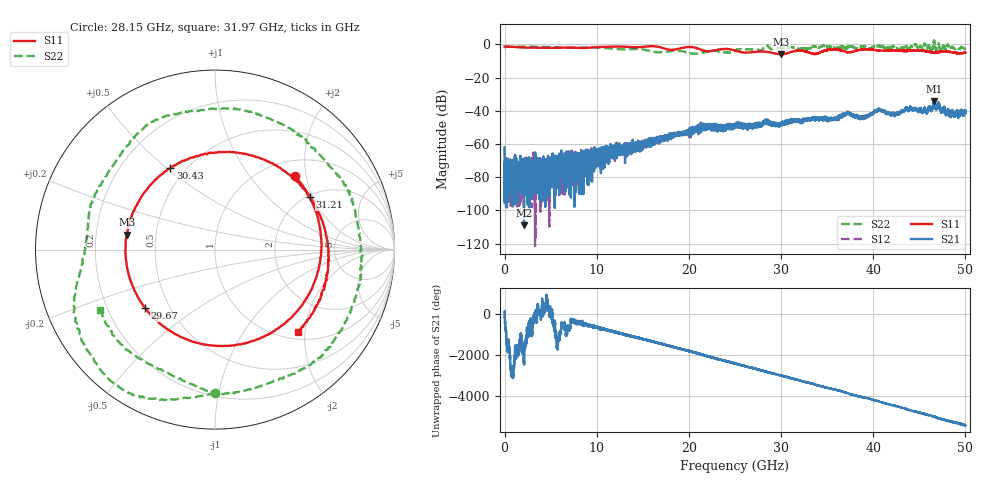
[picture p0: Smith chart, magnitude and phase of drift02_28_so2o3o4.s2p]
!Created with skrf (http://scikit-rf.org).
# Hz S RI R 50.0
!freq ReS11 ImS11 ReS21 ImS21 ReS12 ImS12 ReS22 ImS22
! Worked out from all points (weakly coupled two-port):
!   10001 points, 300 kHz to 50 GHz, reference 50 ohm
!   highest |S21| = -34.31 dB at 46.58 GHz (marker M1); lowest = -109.0 dB at 2.105 GHz (marker M2)
!   lowest |S11| = -6.1 dB at 30.04 GHz (marker M3), VSWR 2.97, Z = 16.9 + j3.7 ohm
!   |S11| at or under -10 dB: nowhere
!   |S22| runs from -5.7 to 2.4 dB; largest |S21 - S12| = 0.0036
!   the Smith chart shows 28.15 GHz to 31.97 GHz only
!   S11 on the Smith chart (normalised r, x): 28.15 GHz: 1.32, +1.72; 29.67 GHz: 0.36, -0.32; 30.43 GHz: 0.41, +0.52; 31.21 GHz: 2.06, +1.91; 31.97 GHz: 1.16, -1.84
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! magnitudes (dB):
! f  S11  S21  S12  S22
! 300 kHz  -1.3  -62.1  -61.9  -2.1
! 255.3 MHz  -1.4  -69.5  -84.5  -1.4
! 2.105 GHz  -1.9  -109.0  -79.9  -1.3
! 5.52 GHz  -2.1  -88.8  -72.1  -1.7
! 8.335 GHz  -2.2  -65.4  -74.2  -1.9
! 16.67 GHz  -1.5  -58.1  -57.3  -4.7
! 21.56 GHz  -3.7  -48.2  -51.5  -4.6
! 25 GHz  -3.7  -49.0  -48.2  -3.8
! 28.15 GHz  -4.4  -46.8  -47.2  -2.0
! 29.67 GHz  -5.9  -48.2  -48.0  -2.1
! 30.04 GHz  -6.1  -48.0  -48.4  -2.0
! 30.43 GHz  -5.7  -46.8  -47.0  -1.9
! 31.21 GHz  -4.4  -46.0  -45.9  -1.8
! 31.97 GHz  -3.7  -46.0  -46.2  -2.8
! 33.34 GHz  -5.5  -44.9  -44.7  -1.5
! 37.28 GHz  -4.7  -41.0  -41.4  -1.3
! 38.77 GHz  -3.2  -44.3  -43.9  -1.0
! 40.59 GHz  -3.6  -38.9  -39.1  -1.0
! 41.67 GHz  -3.6  -41.6  -41.0  -1.9
! 46.58 GHz  -4.7  -34.3  -34.7  1.4
! 48.53 GHz  -4.7  -41.2  -40.9  -1.7
! 50 GHz  -4.9  -39.9  -40.5  -2.7
